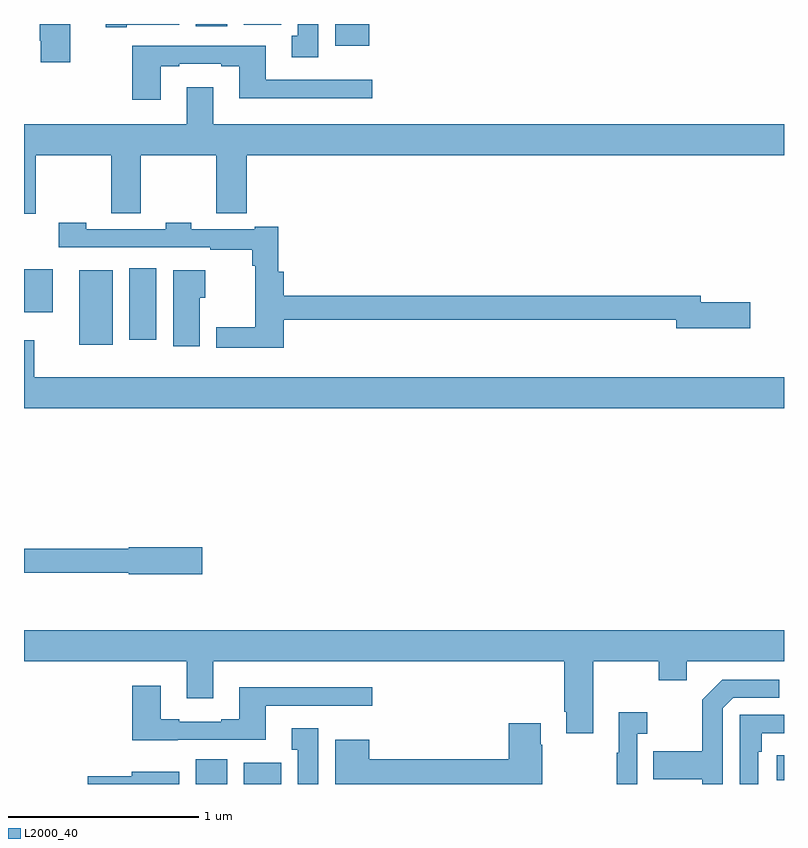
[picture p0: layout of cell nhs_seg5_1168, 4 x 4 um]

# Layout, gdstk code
import gdstk
lib = gdstk.Library(unit=1e-6, precision=1e-09)
def R(c, l, rs):  # rectangles x0, y0, x1, y1
    for r in rs: c.add(gdstk.rectangle(r[:2], r[2:], *l))
def P(c, l, *ps):  # polygons
    for p in ps: c.add(gdstk.Polygon(p, *l))
L2000_40 = (2000, 40)

nhs_seg5_1168 = lib.new_cell('nhs_seg5_1168')
R(nhs_seg5_1168, L2000_40, [(183.905,838.799,184.069,838.93), (184.157,838.799,184.354,838.912), (186.963,838.82,187,838.95), (183.29,841.112,183.466,841.504), (183.554,841.137,183.697,841.513), (183,841.283,183.151,841.507), (184.637,842.684,184.816,842.799), (183.905,842.787,184.069,842.799), (184.157,842.796,184.353,842.799)])
P(nhs_seg5_1168, L2000_40, [(184.549,842.799),(184.442,842.799),(184.442,842.737),(184.409,842.737),(184.409,842.625),(184.549,842.625)],
  [(183.244,842.799),(183.082,842.799),(183.082,842.71),(183.089,842.71),(183.089,842.598),(183.244,842.598)],
  [(183.541,842.795),(183.817,842.795),(183.817,842.799),(183.429,842.799),(183.429,842.783),(183.541,842.783)],
  [(183.721,842.577),(183.817,842.577),(183.817,842.589),(184.037,842.589),(184.037,842.577),(184.133,842.577),(184.133,842.408),(184.834,842.408),(184.834,842.505),(184.273,842.505),(184.273,842.685),(183.569,842.685),(183.569,842.4),(183.721,842.4)],
  [(183.063,842.108),(183.46,842.108),(183.46,841.804),(183.614,841.804),(183.614,842.108),(184.012,842.108),(184.012,841.804),(184.172,841.804),(184.172,842.108),(187,842.108),(187,842.272),(183.997,842.272),(183.997,842.467),(183.857,842.467),(183.857,842.272),(183,842.272),(183,841.8),(183.063,841.8)],
  [(184.367,841.242),(186.434,841.242),(186.434,841.199),(186.823,841.199),(186.823,841.334),(186.562,841.334),(186.562,841.37),(184.367,841.37),(184.367,841.495),(184.337,841.495),(184.337,841.732),(184.214,841.732),(184.214,841.719),(183.879,841.719),(183.879,841.752),(183.747,841.752),(183.747,841.719),(183.327,841.719),(183.327,841.752),(183.183,841.752),(183.183,841.623),(183.979,841.623),(183.979,841.611),(184.201,841.611),(184.201,841.526),(184.216,841.526),(184.216,841.204),(184.011,841.204),(184.011,841.094),(184.367,841.094)],
  [(183.925,841.357),(183.955,841.357),(183.955,841.504),(183.785,841.504),(183.785,841.104),(183.925,841.104)],
  [(187,840.94),(183.055,840.94),(183.055,841.135),(183,841.135),(183,840.776),(187,840.776)],
  [(183.937,840.044),(183.552,840.044),(183.552,840.038),(183,840.038),(183,839.91),(183.552,839.91),(183.552,839.902),(183.937,839.902)],
  [(185.995,839.444),(186.34,839.444),(186.34,839.345),(186.487,839.345),(186.487,839.444),(187,839.444),(187,839.608),(183,839.608),(183,839.444),(183.857,839.444),(183.857,839.25),(183.997,839.25),(183.997,839.444),(185.843,839.444),(185.843,839.179),(185.855,839.179),(185.855,839.067),(185.995,839.067)],
  [(186.678,839.199),(186.732,839.253),(186.976,839.253),(186.976,839.349),(186.675,839.349),(186.57,839.243),(186.57,838.971),(186.313,838.971),(186.313,838.823),(186.57,838.823),(186.57,838.799),(186.678,838.799)],
  [(183.809,839.031),(184.273,839.031),(184.273,839.211),(184.834,839.211),(184.834,839.308),(184.133,839.308),(184.133,839.14),(184.037,839.14),(184.037,839.127),(183.817,839.127),(183.817,839.14),(183.721,839.14),(183.721,839.317),(183.569,839.317),(183.569,839.03),(183.809,839.03)],
  [(186.228,839.063),(186.28,839.063),(186.28,839.176),(186.131,839.176),(186.131,838.963),(186.12,838.963),(186.12,838.799),(186.228,838.799)],
  [(186.864,838.97),(186.884,838.97),(186.884,839.067),(187,839.067),(187,839.163),(186.768,839.163),(186.768,838.799),(186.864,838.799)],
  [(185.727,839.006),(185.719,839.006),(185.719,839.119),(185.552,839.119),(185.552,838.928),(184.816,838.928),(184.816,839.032),(184.637,839.032),(184.637,838.799),(185.727,838.799)],
  [(184.549,839.092),(184.409,839.092),(184.409,838.979),(184.442,838.979),(184.442,838.799),(184.549,838.799)],
  [(183.817,838.864),(183.566,838.864),(183.566,838.841),(183.336,838.841),(183.336,838.799),(183.817,838.799)])

lib.write_gds('nhs_seg5_1168.gds')
